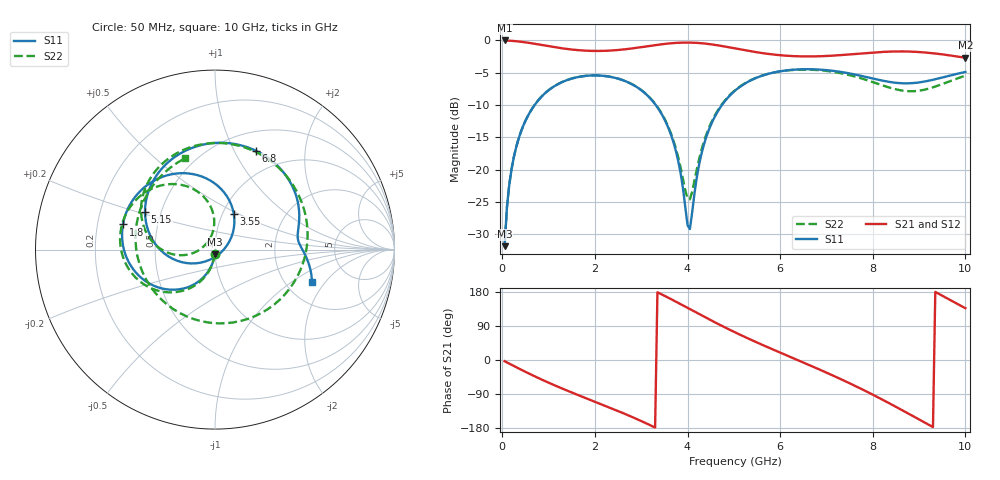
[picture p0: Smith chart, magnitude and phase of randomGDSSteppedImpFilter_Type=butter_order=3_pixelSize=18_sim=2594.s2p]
! freq	dB(S11)	phase(S11)	dB(S12)	phase(S12)
!  dB(S21)	phase(S21)	dB(S22)	phase(S22)
!S-par simulation data
#  GHz  S  DB  R 50
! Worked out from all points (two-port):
!   200 points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, 50 MHz to 10 GHz, reference 50 ohm
!   highest |S21| = -0.01 dB at 50 MHz (marker M1); lowest = -2.7 dB at 10 GHz (marker M2)
!   |S21| within 3 dB of the highest: start of sweep to end of sweep
!   lowest |S11| = -31.8 dB at 50 MHz (marker M3), VSWR 1.05, Z = 49.8 - j2.55 ohm
!   |S11| at or under -10 dB: start of sweep to 697.5 MHz; 3.314 GHz to 4.743 GHz (1.429 GHz wide, 35.5 % of centre)
!   |S22| runs from -31.8 to -4.5 dB; largest |S21 - S12| = 0
!   S11 on the Smith chart (normalised r, x): 50 MHz: 1.00, -0.05; 1.8 GHz: 0.31, +0.12; 3.55 GHz: 1.13, +0.48; 5.15 GHz: 0.41, +0.21; 6.8 GHz: 0.72, +1.23; 10 GHz: 2.77, -1.48
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0.05  -31.83 -93.3  -0.01 -3.2  -0.01 -3.2  -31.83 -93.1
0.2  -19.91 -103.6  -0.07 -12.7  -0.07 -12.7  -19.90 -102.7
0.5  -12.43 -122.9  -0.30 -31.2  -0.30 -31.2  -12.43 -120.6
1.05  -7.44 -155.5  -0.95 -62.6  -0.95 -62.6  -7.43 -150.6
1.75  -5.53 167.3  -1.57 -98.0  -1.57 -98.0  -5.52 175.9
1.8  -5.49 164.7  -1.59 -100.4  -1.59 -100.4  -5.48 173.6
2.65  -6.28 120.2  -1.38 -142.3  -1.38 -142.3  -6.27 135.1
3.4  -10.90 73.7  -0.64 175.8  -0.64 175.8  -10.83 100.5
3.55  -12.93 62.4  -0.51 166.5  -0.51 166.5  -12.80 94.8
3.8  -18.67 37.9  -0.37 150.7  -0.37 150.7  -18.11 92.9
4.05  -29.18 -65.9  -0.34 134.4  -0.34 134.4  -24.58 149.3
4.4  -15.04 -155.0  -0.51 111.6  -0.51 111.6  -14.68 -170.2
5.05  -7.63 158.0  -1.27 71.6  -1.27 71.6  -7.57 161.8
5.15  -7.09 151.9  -1.40 65.8  -1.40 65.8  -7.04 156.7
5.9  -4.91 110.4  -2.22 24.8  -2.22 24.8  -4.91 117.9
6.7  -4.47 72.0  -2.48 -17.1  -2.48 -17.1  -4.54 73.7
6.8  -4.49 67.5  -2.46 -22.5  -2.46 -22.5  -4.58 67.7
7.65  -5.33 33.2  -2.07 -70.2  -2.07 -70.2  -5.66 8.3
8.35  -6.41 13.9  -1.74 -113.8  -1.74 -113.8  -7.28 -58.8
8.8  -6.63 6.3  -1.73 -143.5  -1.73 -143.5  -7.87 -112.8
9.25  -6.17 -1.0  -1.95 -173.7  -1.95 -173.7  -7.37 -169.0
10  -4.88 -18.4  -2.69 136.6  -2.69 136.6  -5.43 108.3
